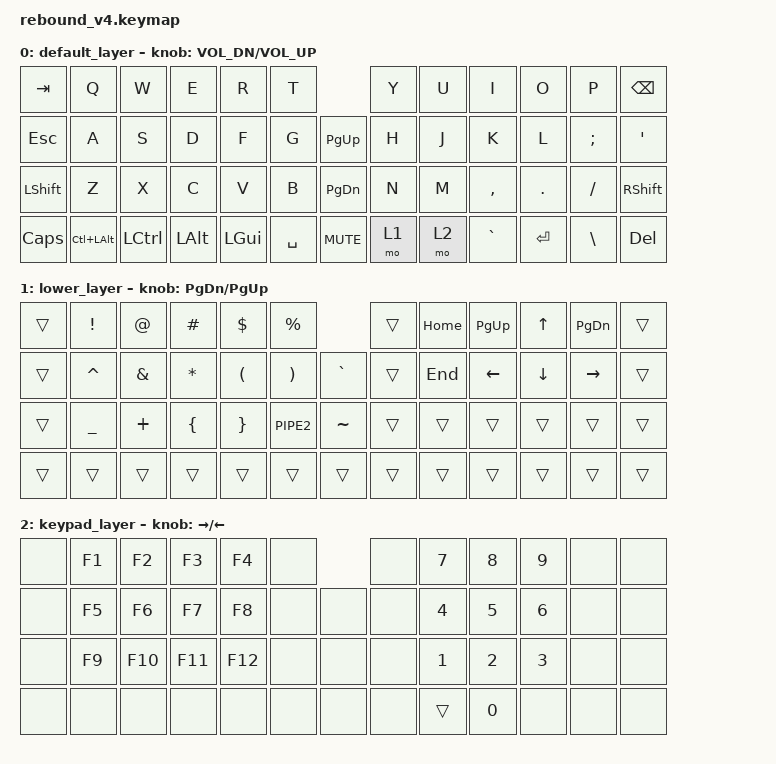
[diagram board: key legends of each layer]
/*
 * Copyright (c) 2020 The ZMK Contributors
 *
 * SPDX-License-Identifier: MIT
 */

#include <behaviors.dtsi>
#include <dt-bindings/zmk/keys.h>
#include <dt-bindings/zmk/bt.h>
#include <dt-bindings/zmk/modifiers.h>
#include <dt-bindings/zmk/outputs.h>

/ {
    keymap {
        compatible = "zmk,keymap";

        default_layer {
                         					  
		bindings = <
   &kp TAB    &kp Q          &kp W       &kp E      &kp R     &kp T                   &kp Y   &kp U   &kp I       &kp O     &kp P      &kp BSPC
   &kp ESC    &kp A          &kp S       &kp D      &kp F     &kp G      &kp PG_UP    &kp H   &kp J   &kp K       &kp L     &kp SEMI   &kp SQT
   &kp LSHFT  &kp Z          &kp X       &kp C      &kp V     &kp B      &kp PG_DN    &kp N   &kp M   &kp COMMA   &kp DOT   &kp FSLH   &kp RSHFT  
   &kp CAPS   &kp LC(LALT)   &kp LCTRL   &kp LALT   &kp LGUI  &kp SPACE  &kp C_MUTE   &mo 1   &mo 2   &kp GRAVE   &kp RET   &kp BSLH   &kp DEL   
                        >;

			sensor-bindings = <&inc_dec_kp C_VOL_DN C_VOL_UP>;
                };

        lower_layer {

		bindings = < 
   &trans &kp EXCL   &kp AT    &kp HASH    &kp DLLR    &kp PRCNT                &trans   &kp HOME    &kp PG_UP    &kp UP      &kp PG_DN   &trans
   &trans &kp CARET  &kp AMPS  &kp STAR    &kp LPAR    &kp RPAR    &kp GRAVE    &trans   &kp END     &kp LEFT     &kp DOWN    &kp RIGHT   &trans
   &trans &kp UNDER  &kp PLUS  &kp LBRC    &kp RBRC    &kp PIPE2   &kp TILDE    &trans   &trans      &trans       &trans      &trans      &trans
   &trans &trans     &trans    &trans      &trans      &trans      &trans       &trans   &trans      &trans       &trans      &trans      &trans
                        >;

			sensor-bindings = <&inc_dec_kp PG_DN PG_UP>;
                };

        keypad_layer {
                                            
		bindings = <
   &none  &kp F1   &kp F2    &kp F3    &kp F4    &none               &none  &kp N7    &kp N8     &kp N9    &none     &none   
   &none  &kp F5   &kp F6    &kp F7    &kp F8    &none   &none       &none  &kp N4    &kp N5     &kp N6    &none     &none
   &none  &kp F9   &kp F10   &kp F11   &kp F12   &none   &none       &none  &kp N1    &kp N2     &kp N3    &none     &none
   &none  &none    &none     &none     &none     &none   &none       &none  &trans    &kp N0     &none     &none     &none
                        >;

			sensor-bindings = <&inc_dec_kp RIGHT LEFT>;
                };
	};
};
